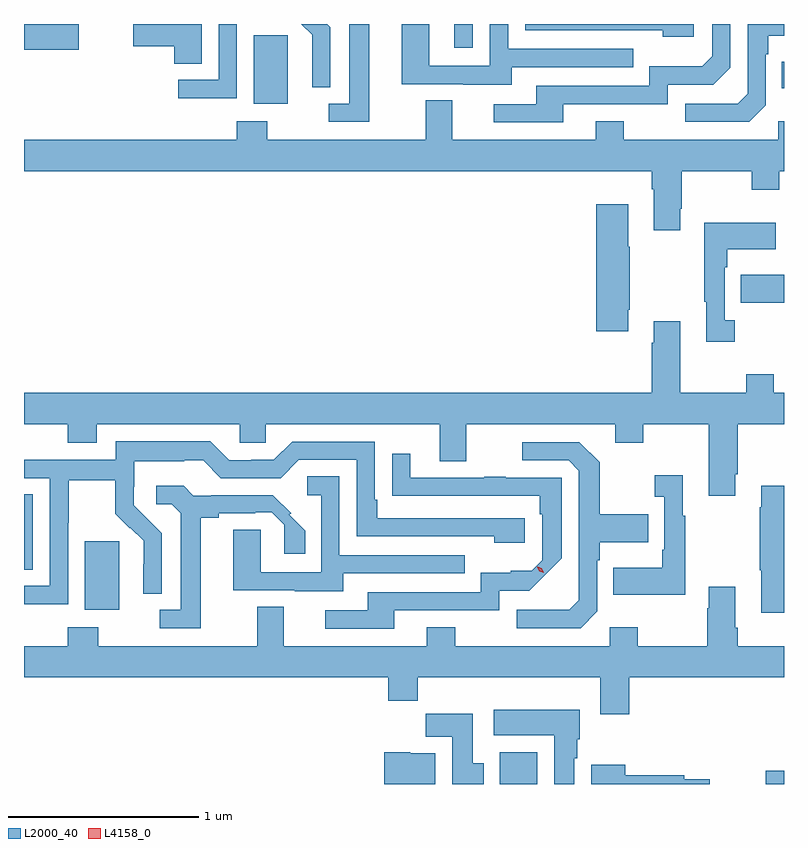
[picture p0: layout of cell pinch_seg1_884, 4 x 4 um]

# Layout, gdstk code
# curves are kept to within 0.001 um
import gdstk
lib = gdstk.Library(unit=1e-6, precision=1e-09)
def R(c, l, rs):  # rectangles x0, y0, x1, y1
    for r in rs: c.add(gdstk.rectangle(r[:2], r[2:], *l))
def P(c, l, *ps):  # polygons
    for p in ps: c.add(gdstk.Polygon(p, *l))
L2000_40 = (2000, 40)
L4158_0 = (4158, 0)

pinch_seg1_884 = lib.new_cell('pinch_seg1_884')
R(pinch_seg1_884, L2000_40, [(614.615,523.198,614.812,523.366), (616.014,523.198,616.11,523.268), (612.431,524.114,612.61,524.475), (612.11,524.326,612.157,524.723), (615.883,525.73,616.11,525.877), (613.319,526.778,613.498,527.139), (616.099,526.859,616.11,526.999), (612.11,527.062,612.397,527.198), (614.375,527.073,614.472,527.198)])
P(pinch_seg1_884, L2000_40, [(614.947,526.776),(615.498,526.776),(615.498,526.878),(615.738,526.878),(615.828,526.968),(615.828,527.198),(615.732,527.198),(615.732,527.028),(615.679,526.975),(615.402,526.975),(615.402,526.872),(614.807,526.872),(614.807,526.776),(614.583,526.776),(614.583,526.68),(614.947,526.68)],
  [(614.677,526.971),(615.317,526.971),(615.317,527.067),(614.658,527.067),(614.658,527.198),(614.562,527.198),(614.562,526.977),(614.244,526.977),(614.244,527.198),(614.099,527.198),(614.099,526.881),(614.423,526.881),(614.423,526.877),(614.677,526.877)],
  [(615.634,527.198),(614.748,527.198),(614.748,527.166),(615.473,527.166),(615.473,527.132),(615.634,527.132)],
  [(613.722,527.182),(613.706,527.198),(613.57,527.198),(613.628,527.141),(613.628,527.018),(613.626,527.018),(613.626,526.864),(613.722,526.864)],
  [(613.23,527.198),(613.134,527.198),(613.134,526.905),(612.921,526.905),(612.921,526.807),(613.23,526.807)],
  [(613.927,527.198),(613.823,527.198),(613.823,526.779),(613.713,526.779),(613.713,526.683),(613.927,526.683)],
  [(616.014,526.77),(616.014,527.039),(616.027,527.039),(616.027,527.135),(616.11,527.135),(616.11,527.198),(615.918,527.198),(615.918,526.83),(615.867,526.779),(615.591,526.779),(615.591,526.683),(615.927,526.683)],
  [(613.045,527.198),(612.684,527.198),(612.684,527.081),(612.902,527.081),(612.902,526.99),(613.045,526.99)],
  [(615.565,526.225),(615.573,526.225),(615.573,526.424),(615.94,526.424),(615.94,526.325),(616.086,526.325),(616.086,526.424),(616.11,526.424),(616.11,526.687),(616.08,526.687),(616.08,526.588),(615.267,526.588),(615.267,526.687),(615.119,526.687),(615.119,526.588),(614.365,526.588),(614.365,526.796),(614.225,526.796),(614.225,526.588),(613.389,526.588),(613.389,526.687),(613.229,526.687),(613.229,526.588),(612.11,526.588),(612.11,526.424),(615.413,526.424),(615.413,526.328),(615.425,526.328),(615.425,526.113),(615.565,526.113)],
  [(615.289,525.694),(615.297,525.694),(615.297,526.025),(615.289,526.025),(615.289,526.249),(615.122,526.249),(615.122,525.582),(615.289,525.582)],
  [(615.85,525.638),(615.798,525.638),(615.798,525.917),(615.811,525.917),(615.811,526.013),(616.067,526.013),(616.067,526.153),(615.69,526.153),(615.69,525.737),(615.701,525.737),(615.701,525.525),(615.85,525.525)],
  [(615.853,524.827),(615.866,524.827),(615.866,525.092),(616.11,525.092),(616.11,525.256),(616.057,525.256),(616.057,525.355),(615.91,525.355),(615.91,525.256),(615.565,525.256),(615.565,525.634),(615.425,525.634),(615.425,525.521),(615.413,525.521),(615.413,525.256),(612.11,525.256),(612.11,525.092),(612.341,525.092),(612.341,524.993),(612.493,524.993),(612.493,525.092),(613.245,525.092),(613.245,524.994),(613.383,524.994),(613.383,525.092),(614.297,525.092),(614.297,524.898),(614.437,524.898),(614.437,525.092),(615.221,525.092),(615.221,524.993),(615.369,524.993),(615.369,525.092),(615.713,525.092),(615.713,524.715),(615.853,524.715)],
  [(612.342,524.572),(612.345,524.572),(612.345,524.796),(612.589,524.796),(612.589,524.621),(612.666,524.544),(612.669,524.547),(612.74,524.477),(612.74,524.354),(612.738,524.354),(612.738,524.2),(612.834,524.2),(612.834,524.518),(612.688,524.666),(612.688,524.763),(612.69,524.763),(612.69,524.897),(612.953,524.897),(612.953,524.901),(613.053,524.901),(613.146,524.808),(613.461,524.808),(613.557,524.904),(613.86,524.904),(613.86,524.502),(614.585,524.502),(614.585,524.468),(614.746,524.468),(614.746,524.598),(613.969,524.598),(613.969,524.695),(613.956,524.695),(613.956,525),(613.521,525),(613.425,524.904),(613.307,524.904),(613.307,524.901),(613.191,524.901),(613.091,525.001),(612.594,525.001),(612.594,524.904),(612.11,524.904),(612.11,524.808),(612.246,524.808),(612.246,524.241),(612.11,524.241),(612.11,524.143),(612.342,524.143)],
  [(615.126,524.106),(615.126,524.375),(615.139,524.375),(615.139,524.471),(615.395,524.471),(615.395,524.619),(615.139,524.619),(615.139,524.891),(615.033,524.997),(614.733,524.997),(614.733,524.901),(614.976,524.901),(615.03,524.847),(615.029,524.165),(614.979,524.115),(614.703,524.115),(614.703,524.019),(615.039,524.019)],
  [(614.059,524.112),(614.61,524.112),(614.61,524.214),(614.769,524.214),(614.94,524.385),(614.94,524.811),(614.645,524.811),(614.645,524.816),(614.533,524.816),(614.533,524.811),(614.143,524.811),(614.143,524.935),(614.047,524.935),(614.047,524.716),(614.824,524.715),(614.824,524.618),(614.838,524.618),(614.838,524.375),(614.783,524.32),(614.672,524.32),(614.672,524.311),(614.514,524.311),(614.514,524.208),(613.919,524.208),(613.919,524.112),(613.695,524.112),(613.695,524.016),(614.059,524.016)],
  [(615.589,524.611),(615.577,524.611),(615.577,524.824),(615.429,524.824),(615.429,524.711),(615.48,524.711),(615.48,524.431),(615.468,524.431),(615.468,524.335),(615.211,524.335),(615.211,524.195),(615.589,524.195)],
  [(613.789,524.307),(614.429,524.307),(614.429,524.403),(613.77,524.403),(613.77,524.819),(613.602,524.819),(613.602,524.718),(613.674,524.718),(613.674,524.313),(613.357,524.313),(613.357,524.537),(613.211,524.537),(613.211,524.217),(613.535,524.217),(613.535,524.213),(613.789,524.213)],
  [(613.039,524.6),(613.135,524.6),(613.135,524.622),(613.328,524.622),(613.328,524.628),(613.413,524.628),(613.479,524.562),(613.479,524.409),(613.589,524.409),(613.589,524.532),(613.507,524.614),(613.516,524.623),(613.42,524.718),(613.096,524.718),(613.096,524.715),(613.002,524.715),(612.95,524.767),(612.807,524.767),(612.807,524.67),(612.888,524.67),(612.935,524.623),(612.935,524.115),(612.825,524.115),(612.825,524.019),(613.039,524.019)],
  [(616.11,524.767),(615.989,524.767),(615.989,524.654),(615.982,524.654),(615.982,524.323),(615.989,524.323),(615.989,524.1),(616.11,524.1)],
  [(615.296,523.76),(616.11,523.76),(616.11,523.924),(615.866,523.924),(615.866,524.02),(615.853,524.02),(615.853,524.236),(615.713,524.236),(615.713,524.123),(615.706,524.123),(615.706,523.924),(615.339,523.924),(615.339,524.023),(615.192,524.023),(615.192,523.924),(614.379,523.924),(614.379,524.023),(614.231,524.023),(614.231,523.924),(613.477,523.924),(613.477,524.132),(613.337,524.132),(613.337,523.924),(612.501,523.924),(612.501,524.023),(612.341,524.023),(612.341,523.924),(612.11,523.924),(612.11,523.76),(614.027,523.76),(614.027,523.636),(614.183,523.636),(614.183,523.76),(615.143,523.76),(615.143,523.566),(615.296,523.566)],
  [(615.007,523.334),(615.022,523.334),(615.022,523.434),(615.034,523.434),(615.034,523.588),(614.583,523.588),(614.583,523.454),(614.9,523.454),(614.9,523.198),(615.007,523.198)],
  [(614.53,523.308),(614.473,523.308),(614.473,523.567),(614.224,523.567),(614.224,523.448),(614.363,523.448),(614.363,523.198),(614.53,523.198)],
  [(614.275,523.36),(614.142,523.36),(614.142,523.366),(614.006,523.366),(614.006,523.198),(614.275,523.198)],
  [(615.718,523.224),(615.584,523.224),(615.584,523.244),(615.274,523.244),(615.274,523.3),(615.095,523.3),(615.095,523.198),(615.718,523.198)])
P(pinch_seg1_884, L4158_0, [(614.845,524.31),(614.822,524.319),(614.812,524.341),(614.812,524.342),(614.813,524.342),(614.836,524.333),(614.845,524.31),(614.845,524.31)])

lib.write_gds('pinch_seg1_884.gds')
